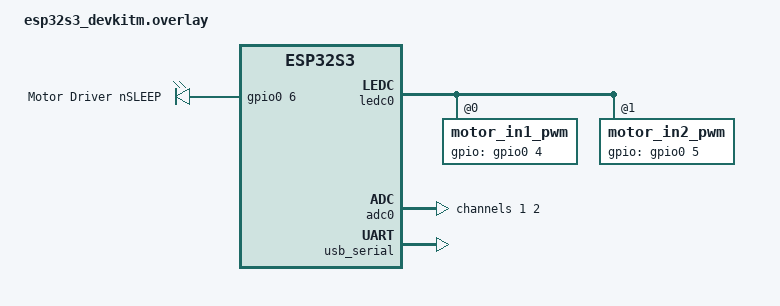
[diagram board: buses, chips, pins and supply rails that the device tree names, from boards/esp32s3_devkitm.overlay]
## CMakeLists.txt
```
# SPDX-License-Identifier: Apache-2.0
# Motor Fader Firmware - Zephyr Project

cmake_minimum_required(VERSION 3.20.0)

# Find Zephyr package
find_package(Zephyr REQUIRED HINTS $ENV{ZEPHYR_BASE})

project(motor_fader_firmware)

# Source files
target_sources(app PRIVATE
    src/main.c
    src/motor_control.c
    src/pid.c
    src/calibration.c
    src/touch_detect.c
)

# Include directories
target_include_directories(app PRIVATE
    src
)
```

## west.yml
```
# West manifest for Motor Fader Firmware
# This tells west where to find Zephyr and any additional modules

manifest:
  version: "1.0"

  remotes:
    - name: zephyrproject-rtos
      url-base: https://github.com/zephyrproject-rtos

  projects:
    - name: zephyr
      remote: zephyrproject-rtos
      revision: v3.6.0
      import:
        name-allowlist:
          - hal_espressif

  self:
    path: motor-fader-firmware
```

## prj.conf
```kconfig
# Motor Fader Firmware - Zephyr Configuration

# General
CONFIG_MAIN_STACK_SIZE=4096
CONFIG_HEAP_MEM_POOL_SIZE=8192
CONFIG_PRINTK=y
CONFIG_LOG=y
CONFIG_LOG_MODE_IMMEDIATE=y

# Console / Shell (optional for debugging)
CONFIG_CONSOLE=y
CONFIG_UART_CONSOLE=y
CONFIG_SHELL=y
CONFIG_SHELL_BACKEND_SERIAL=y

# GPIO
CONFIG_GPIO=y

# PWM for motor control
CONFIG_PWM=y

# ADC for position and current sensing
CONFIG_ADC=y

# Timer for control loop
CONFIG_COUNTER=y

# Non-volatile storage for calibration data
CONFIG_NVS=y
CONFIG_FLASH=y
CONFIG_FLASH_MAP=y
CONFIG_FLASH_PAGE_LAYOUT=y

# Floating point support for PID calculations
CONFIG_FPU=y

# USB CDC for serial output (ESP32-S3 native USB)
CONFIG_USB_DEVICE_STACK=y
CONFIG_USB_CDC_ACM=y
CONFIG_USB_DEVICE_PRODUCT="Motor Fader Controller"
CONFIG_USB_DEVICE_VID=0x303A
CONFIG_USB_DEVICE_PID=0x1001

# ESP32-S3 specific
CONFIG_SOC_ESP32S3_PROCPU=y

# Touch sensor (ESP32-S3 has hardware touch)
# Note: Zephyr touch support varies - may need custom driver
```

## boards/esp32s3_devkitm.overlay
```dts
/*
 * Motor Fader Firmware - Device Tree Overlay for ESP32-S3
 * 
 * Pin Assignments (from usage.ato):
 *   GPIO4  - Motor IN1 (PWM)
 *   GPIO5  - Motor IN2 (PWM)
 *   GPIO6  - Driver nSLEEP (GPIO output)
 *   GPIO2  - Potentiometer sense (ADC)
 *   GPIO3  - Current sense (ADC)
 *   GPIO1  - Touch sense
 */

/ {
    aliases {
        motor-in1 = &motor_in1_pwm;
        motor-in2 = &motor_in2_pwm;
        motor-sleep = &gpio0;
        pot-sense = &adc0;
        current-sense = &adc0;
    };

    chosen {
        zephyr,console = &usb_serial;
        zephyr,shell-uart = &usb_serial;
    };

    /* Motor control GPIOs */
    motor_gpios {
        compatible = "gpio-leds";
        
        motor_sleep: motor_sleep {
            gpios = <&gpio0 6 GPIO_ACTIVE_HIGH>;
            label = "Motor Driver nSLEEP";
        };
    };
};

/* PWM configuration for motor control */
&ledc0 {
    status = "okay";
    #address-cells = <1>;
    #size-cells = <0>;
    
    /* Motor IN1 - PWM Channel 0 on GPIO4 */
    motor_in1_pwm: motor_in1_pwm@0 {
        reg = <0>;
        channel = <0>;
        timer = <0>;
        gpios = <&gpio0 4 GPIO_ACTIVE_HIGH>;
    };
    
    /* Motor IN2 - PWM Channel 1 on GPIO5 */
    motor_in2_pwm: motor_in2_pwm@1 {
        reg = <1>;
        channel = <1>;
        timer = <0>;
        gpios = <&gpio0 5 GPIO_ACTIVE_HIGH>;
    };
};

/* ADC configuration for position and current sensing */
&adc0 {
    status = "okay";
    #address-cells = <1>;
    #size-cells = <0>;
    
    /* Potentiometer sense on GPIO2 (ADC1_CH1) */
    channel@1 {
        reg = <1>;
        zephyr,gain = "ADC_GAIN_1";
        zephyr,reference = "ADC_REF_INTERNAL";
        zephyr,acquisition-time = <ADC_ACQ_TIME_DEFAULT>;
        zephyr,resolution = <12>;
    };
    
    /* Current sense on GPIO3 (ADC1_CH2) */
    channel@2 {
        reg = <2>;
        zephyr,gain = "ADC_GAIN_1";
        zephyr,reference = "ADC_REF_INTERNAL";
        zephyr,acquisition-time = <ADC_ACQ_TIME_DEFAULT>;
        zephyr,resolution = <12>;
    };
};

/* USB CDC for console */
&usb_serial {
    status = "okay";
};
```

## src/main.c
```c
/*
 * Motor Fader Firmware - Main Application
 * 
 * ESP32-S3 + DRV8210P H-bridge + ALPS Motor Fader
 * 
 * Features:
 * - Closed-loop PID position control
 * - Endstop calibration via current sensing
 * - Touch detection and force feedback
 * - Shell commands for testing and tuning
 */

#include <zephyr/kernel.h>
#include <zephyr/device.h>
#include <zephyr/drivers/gpio.h>
#include <zephyr/drivers/adc.h>
#include <zephyr/shell/shell.h>
#include <zephyr/logging/log.h>
#include <zephyr/settings/settings.h>
#include <stdlib.h>
#include <math.h>

#include "motor_control.h"
#include "pid.h"
#include "calibration.h"
#include "touch_detect.h"

LOG_MODULE_REGISTER(main, LOG_LEVEL_INF);

/* ADC configuration */
#define ADC_RESOLUTION      12
#define ADC_MAX_VALUE       ((1 << ADC_RESOLUTION) - 1)  /* 4095 */
#define ADC_REF_MV          3300  /* 3.3V reference */

/* ADC channels */
#define ADC_CHANNEL_POT     1     /* GPIO2 = ADC1_CH1 */
#define ADC_CHANNEL_CURRENT 2     /* GPIO3 = ADC1_CH2 */

/* Control loop timing */
#define CONTROL_LOOP_PERIOD_MS  10    /* 100Hz control loop */
#define ADC_SAMPLE_PERIOD_MS    1     /* 1kHz ADC sampling */

/* Demo mode settings */
#define DEMO_PERIOD_MS          4000  /* Full cycle time for back-and-forth */
#define DEMO_HOLD_TIME_MS       1000  /* Hold at each end */

/* ADC device and channels */
static const struct device *adc_dev;
static struct adc_channel_cfg pot_channel_cfg = {
    .gain = ADC_GAIN_1,
    .reference = ADC_REF_INTERNAL,
    .acquisition_time = ADC_ACQ_TIME_DEFAULT,
    .channel_id = ADC_CHANNEL_POT,
};
static struct adc_channel_cfg current_channel_cfg = {
    .gain = ADC_GAIN_1,
    .reference = ADC_REF_INTERNAL,
    .acquisition_time = ADC_ACQ_TIME_DEFAULT,
    .channel_id = ADC_CHANNEL_CURRENT,
};

/* ADC sequence buffers */
static int16_t pot_sample_buffer;
static int16_t current_sample_buffer;
static struct adc_sequence pot_sequence = {
    .channels = BIT(ADC_CHANNEL_POT),
    .buffer = &pot_sample_buffer,
    .buffer_size = sizeof(pot_sample_buffer),
    .resolution = ADC_RESOLUTION,
};
static struct adc_sequence current_sequence = {
    .channels = BIT(ADC_CHANNEL_CURRENT),
    .buffer = &current_sample_buffer,
    .buffer_size = sizeof(current_sample_buffer),
    .resolution = ADC_RESOLUTION,
};

/* PID controller */
static pid_state_t pid;
static const pid_config_t pid_default_config = {
    .kp = 2.0f,
    .ki = 0.5f,
    .kd = 0.1f,
    .output_min = -100.0f,
    .output_max = 100.0f,
    .deadband = 0.01f,      /* 1% deadband */
    .integral_max = 50.0f,
};

/* Application state */
typedef enum {
    APP_STATE_INIT,
    APP_STATE_DEMO,         /* Motor back-and-forth demo */
    APP_STATE_CALIBRATE,    /* Running calibration */
    APP_STATE_POSITION,     /* Closed-loop position control */
    APP_STATE_MANUAL,       /* Manual control via shell */
    APP_STATE_IDLE
} app_state_t;

static app_state_t app_state = APP_STATE_INIT;
static float target_position = 0.5f;  /* Default to center */
static uint16_t raw_pot_value;
static uint16_t raw_current_value;
static float current_position;

/* Demo state */
static bool demo_direction_forward = true;
static uint32_t demo_last_change;

/* Thread stacks */
K_THREAD_STACK_DEFINE(control_stack, 2048);
static struct k_thread control_thread_data;

/* Synchronization */
K_MUTEX_DEFINE(state_mutex);

/*
 * ADC initialization
 */
static int adc_init(void)
{
    int ret;
    
    adc_dev = DEVICE_DT_GET(DT_NODELABEL(adc0));
    if (!device_is_ready(adc_dev)) {
        LOG_ERR("ADC device not ready");
        return -ENODEV;
    }
    
    /* Configure potentiometer channel */
    ret = adc_channel_setup(adc_dev, &pot_channel_cfg);
    if (ret < 0) {
        LOG_ERR("Failed to setup pot ADC channel: %d", ret);
        return ret;
    }
    
    /* Configure current sense channel */
    ret = adc_channel_setup(adc_dev, &current_channel_cfg);
    if (ret < 0) {
        LOG_ERR("Failed to setup current ADC channel: %d", ret);
        return ret;
    }
    
    LOG_INF("ADC initialized");
    return 0;
}

/*
 * Read ADC values
 */
static int read_adc_values(void)
{
    int ret;
    
    /* Read potentiometer */
    ret = adc_read(adc_dev, &pot_sequence);
    if (ret < 0) {
        LOG_WRN("Pot ADC read failed: %d", ret);
        return ret;
    }
    raw_pot_value = (uint16_t)pot_sample_buffer;
    
    /* Read current sense */
    ret = adc_read(adc_dev, &current_sequence);
    if (ret < 0) {
        LOG_WRN("Current ADC read failed: %d", ret);
        return ret;
    }
    raw_current_value = (uint16_t)current_sample_buffer;
    
    /* Convert to normalized position */
    current_position = calibration_normalize_position(raw_pot_value);
    
    return 0;
}

/*
 * Demo mode - move motor back and forth
 */
static void demo_update(void)
{
    uint32_t now = k_uptime_get_32();
    uint32_t elapsed = now - demo_last_change;
    
    /* Check if it's time to change direction */
    if (elapsed >= (DEMO_PERIOD_MS / 2)) {
        demo_direction_forward = !demo_direction_forward;
        demo_last_change = now;
        
        /* Set new target position */
        target_position = demo_direction_forward ? 0.9f : 0.1f;
        pid_set_setpoint(&pid, target_position);
        
        LOG_INF("Demo: moving to %.1f%%", target_position * 100.0f);
    }
}

/*
 * Control loop thread
 */
static void control_loop_thread(void *p1, void *p2, void *p3)
{
    ARG_UNUSED(p1);
    ARG_UNUSED(p2);
    ARG_UNUSED(p3);
    
    float dt = CONTROL_LOOP_PERIOD_MS / 1000.0f;
    float motor_output;
    
    LOG_INF("Control loop started");
    
    while (1) {
        /* Read sensors */
        if (read_adc_values() < 0) {
            k_msleep(CONTROL_LOOP_PERIOD_MS);
            continue;
        }
        
        /* Process touch detection */
        touch_process(0, raw_current_value, current_position);  /* TODO: actual touch ADC */
        
        k_mutex_lock(&state_mutex, K_FOREVER);
        
        switch (app_state) {
        case APP_STATE_DEMO:
            demo_update();
            /* Fall through to position control */
            __attribute__((fallthrough));
            
        case APP_STATE_POSITION:
            /* Check if user is overriding */
            if (touch_is_touched() && touch_should_yield(raw_current_value)) {
                /* User is pushing - disable motor temporarily */
                motor_stop();
                
                /* In SPRING mode, remember we need to return */
                if (touch_get_ff_mode() == FF_MODE_SPRING) {
                    /* Will spring back when released */
                }
            } else if (touch_get_state() == TOUCH_STATE_RELEASED && 
                       touch_get_ff_mode() == FF_MODE_FOLLOW) {
                /* In follow mode, adopt the new position */
                target_position = current_position;
                pid_set_setpoint(&pid, target_position);
            } else {
                /* Normal PID control */
                motor_output = pid_compute(&pid, current_position, dt);
                motor_set_output((int8_t)motor_output);
            }
            break;
            
        case APP_STATE_CALIBRATE:
            calibration_process(raw_pot_value, raw_current_value);
            if (calibration_get_state() == CAL_STATE_COMPLETE ||
                calibration_get_state() == CAL_STATE_ERROR) {
                /* Calibration finished, return to idle */
                app_state = APP_STATE_IDLE;
            }
            break;
            
        case APP_STATE_MANUAL:
        case APP_STATE_IDLE:
        default:
            /* No automatic control */
            break;
        }
        
        k_mutex_unlock(&state_mutex);
        
        k_msleep(CONTROL_LOOP_PERIOD_MS);
    }
}

/*
 * Shell commands for testing and tuning
 */

/* Start demo mode */
static int cmd_demo(const struct shell *sh, size_t argc, char **argv)
{
    k_mutex_lock(&state_mutex, K_FOREVER);
    
    app_state = APP_STATE_DEMO;
    demo_direction_forward = true;
    demo_last_change = k_uptime_get_32();
    target_position = 0.9f;
    
    motor_enable(true);
    pid_set_enabled(&pid, true);
    pid_set_setpoint(&pid, target_position);
    
    k_mutex_unlock(&state_mutex);
    
    shell_print(sh, "Demo mode started - motor moving back and forth");
    return 0;
}

/* Stop all motor activity */
static int cmd_stop(const struct shell *sh, size_t argc, char **argv)
{
    k_mutex_lock(&state_mutex, K_FOREVER);
    
    app_state = APP_STATE_IDLE;
    motor_stop();
    pid_set_enabled(&pid, false);
    
    k_mutex_unlock(&state_mutex);
    
    shell_print(sh, "Motor stopped");
    return 0;
}

/* Start calibration */
static int cmd_calibrate(const struct shell *sh, size_t argc, char **argv)
{
    k_mutex_lock(&state_mutex, K_FOREVER);
    
    app_state = APP_STATE_CALIBRATE;
    calibration_start();
    
    k_mutex_unlock(&state_mutex);
    
    shell_print(sh, "Calibration started...");
    return 0;
}

/* Set target position */
static int cmd_pos(const struct shell *sh, size_t argc, char **argv)
{
    if (argc < 2) {
        shell_print(sh, "Current position: %.1f%%, Target: %.1f%%",
                    current_position * 100.0f, target_position * 100.0f);
        return 0;
    }
    
    float pos = strtof(argv[1], NULL);
    if (pos < 0.0f || pos > 100.0f) {
        shell_error(sh, "Position must be 0-100");
        return -EINVAL;
    }
    
    k_mutex_lock(&state_mutex, K_FOREVER);
    
    target_position = pos / 100.0f;
    pid_set_setpoint(&pid, target_position);
    
    if (app_state == APP_STATE_IDLE) {
        app_state = APP_STATE_POSITION;
        motor_enable(true);
        pid_set_enabled(&pid, true);
    }
    
    k_mutex_unlock(&state_mutex);
    
    shell_print(sh, "Target position: %.1f%%", pos);
    return 0;
}

/* Set PID gains */
static int cmd_pid(const struct shell *sh, size_t argc, char **argv)
{
    if (argc < 4) {
        shell_print(sh, "Usage: pid <Kp> <Ki> <Kd>");
        shell_print(sh, "Current: Kp=%.2f Ki=%.2f Kd=%.2f",
                    pid.config.kp, pid.config.ki, pid.config.kd);
        return 0;
    }
    
    float kp = strtof(argv[1], NULL);
    float ki = strtof(argv[2], NULL);
    float kd = strtof(argv[3], NULL);
    
    pid_set_gains(&pid, kp, ki, kd);
    pid_reset(&pid);  /* Reset integral when gains change */
    
    shell_print(sh, "PID gains set: Kp=%.2f Ki=%.2f Kd=%.2f", kp, ki, kd);
    return 0;
}

/* Manual motor control */
static int cmd_motor(const struct shell *sh, size_t argc, char **argv)
{
    if (argc < 2) {
        const motor_state_t *state = motor_get_state();
        shell_print(sh, "Motor: enabled=%d dir=%d speed=%d",
                    state->enabled, state->direction, state->speed);
        return 0;
    }
    
    int value = strtol(argv[1], NULL, 10);
    
    k_mutex_lock(&state_mutex, K_FOREVER);
    
    app_state = APP_STATE_MANUAL;
    pid_set_enabled(&pid, false);
    motor_enable(true);
    motor_set_output((int8_t)value);
    
    k_mutex_unlock(&state_mutex);
    
    shell_print(sh, "Motor output: %d", value);
    return 0;
}

/* Show status */
static int cmd_status(const struct shell *sh, size_t argc, char **argv)
{
    const motor_state_t *motor = motor_get_state();
    const calibration_data_t *cal = calibration_get_data();
    
    shell_print(sh, "=== Motor Fader Status ===");
    shell_print(sh, "App state: %d", app_state);
    shell_print(sh, "Motor: enabled=%d dir=%d speed=%d",
                motor->enabled, motor->direction, motor->speed);
    shell_print(sh, "Position: raw=%d normalized=%.1f%% target=%.1f%%",
                raw_pot_value, current_position * 100.0f, target_position * 100.0f);
    shell_print(sh, "Current: raw=%d", raw_current_value);
    shell_print(sh, "Touch: state=%d", touch_get_state());
    
    if (cal) {
        shell_print(sh, "Calibration: min=%d max=%d", cal->pos_min, cal->pos_max);
    } else {
        shell_print(sh, "Calibration: not calibrated");
    }
    
    shell_print(sh, "PID: Kp=%.2f Ki=%.2f Kd=%.2f error=%.3f",
                pid.config.kp, pid.config.ki, pid.config.kd,
                pid_get_error(&pid));
    
    return 0;
}

/* Force feedback mode */
static int cmd_ff(const struct shell *sh, size_t argc, char **argv)
{
    if (argc < 2) {
        shell_print(sh, "Force feedback mode: %d", touch_get_ff_mode());
        shell_print(sh, "Modes: 0=disabled, 1=hold, 2=spring, 3=follow");
        return 0;
    }
    
    int mode = strtol(argv[1], NULL, 10);
    if (mode < 0 || mode > 3) {
        shell_error(sh, "Invalid mode");
        return -EINVAL;
    }
    
    touch_set_ff_mode((force_feedback_mode_t)mode);
    shell_print(sh, "Force feedback mode set to %d", mode);
    return 0;
}

/* Register shell commands */
SHELL_STATIC_SUBCMD_SET_CREATE(fader_cmds,
    SHELL_CMD(demo, NULL, "Start demo mode (back and forth)", cmd_demo),
    SHELL_CMD(stop, NULL, "Stop motor", cmd_stop),
    SHELL_CMD(cal, NULL, "Start calibration", cmd_calibrate),
    SHELL_CMD(pos, NULL, "Set/get position (0-100)", cmd_pos),
    SHELL_CMD(pid, NULL, "Set PID gains <Kp> <Ki> <Kd>", cmd_pid),
    SHELL_CMD(motor, NULL, "Manual motor control (-100 to 100)", cmd_motor),
    SHELL_CMD(status, NULL, "Show system status", cmd_status),
    SHELL_CMD(ff, NULL, "Set force feedback mode", cmd_ff),
    SHELL_SUBCMD_SET_END
);
SHELL_CMD_REGISTER(fader, &fader_cmds, "Motor fader commands", NULL);

/*
 * Main entry point
 */
int main(void)
{
    int ret;
    
    LOG_INF("Motor Fader Firmware Starting...");
    LOG_INF("Pin config: IN1=GPIO4, IN2=GPIO5, nSLEEP=GPIO6");
    LOG_INF("           POT=GPIO2, CURRENT=GPIO3, TOUCH=GPIO1");
    
    /* Initialize settings subsystem */
    ret = settings_subsys_init();
    if (ret) {
        LOG_WRN("Settings init failed: %d", ret);
    }
    
    /* Initialize subsystems */
    ret = motor_init();
    if (ret) {
        LOG_ERR("Motor init failed: %d", ret);
        return ret;
    }
    
    ret = adc_init();
    if (ret) {
        LOG_ERR("ADC init failed: %d", ret);
        return ret;
    }
    
    ret = calibration_init();
    if (ret) {
        LOG_WRN("Calibration init failed: %d", ret);
    }
    
    ret = touch_init();
    if (ret) {
        LOG_WRN("Touch init failed: %d", ret);
    }
    
    /* Initialize PID controller */
    pid_init(&pid, &pid_default_config);
    
    /* Start control loop thread */
    k_thread_create(&control_thread_data, control_stack,
                    K_THREAD_STACK_SIZEOF(control_stack),
                    control_loop_thread, NULL, NULL, NULL,
                    5, 0, K_NO_WAIT);
    k_thread_name_set(&control_thread_data, "control_loop");
    
    LOG_INF("Initialization complete!");
    LOG_INF("Commands available via shell:");
    LOG_INF("  fader demo    - Start back-and-forth demo");
    LOG_INF("  fader stop    - Stop motor");
    LOG_INF("  fader cal     - Run calibration");
    LOG_INF("  fader pos <%%> - Set target position");
    LOG_INF("  fader status  - Show current status");
    
    app_state = APP_STATE_IDLE;
    
    /* Main loop - just log status periodically for debugging */
    while (1) {
        k_msleep(5000);
        
        if (app_state != APP_STATE_IDLE) {
            LOG_INF("pos=%.1f%% target=%.1f%% current=%d",
                    current_position * 100.0f,
                    target_position * 100.0f,
                    raw_current_value);
        }
    }
    
    return 0;
}
```

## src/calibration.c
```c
/*
 * Calibration Module Implementation
 * 
 * Endstop calibration procedure:
 * 1. Drive motor slowly toward minimum position
 * 2. Detect stall via current spike
 * 3. Record minimum position ADC value
 * 4. Drive motor toward maximum position
 * 5. Detect stall, record maximum position
 * 6. Store calibration in NVS
 */

#include "calibration.h"
#include "motor_control.h"
#include <zephyr/kernel.h>
#include <zephyr/settings/settings.h>
#include <zephyr/logging/log.h>
#include <string.h>

LOG_MODULE_REGISTER(calibration, LOG_LEVEL_INF);

/* Calibration parameters */
#define CAL_MOTOR_SPEED       30      /* Slow speed during calibration (%) */
#define CAL_STALL_THRESHOLD   500     /* ADC value indicating stall (~150mA @ 1ohm, 3.3V ref) */
#define CAL_STALL_SAMPLES     5       /* Consecutive samples above threshold to confirm stall */
#define CAL_SETTLE_TIME_MS    100     /* Time to wait after stopping */
#define CAL_TIMEOUT_MS        5000    /* Max time for each direction */

/* NVS settings key */
#define CAL_SETTINGS_KEY      "motor_fader/cal"

/* Module state */
static calibration_data_t cal_data = {
    .pos_min = 0,
    .pos_max = 4095,
    .current_stall = CAL_STALL_THRESHOLD,
    .valid = false
};

static calibration_state_t cal_state = CAL_STATE_IDLE;
static uint32_t cal_start_time;
static uint8_t stall_count;
static uint16_t last_position;

/* Settings handler for NVS */
static int cal_settings_set(const char *name, size_t len,
                            settings_read_cb read_cb, void *cb_arg)
{
    const char *next;
    
    if (settings_name_steq(name, "data", &next) && !next) {
        if (len != sizeof(calibration_data_t)) {
            return -EINVAL;
        }
        
        int rc = read_cb(cb_arg, &cal_data, sizeof(cal_data));
        if (rc >= 0) {
            LOG_INF("Loaded calibration: min=%d, max=%d", 
                    cal_data.pos_min, cal_data.pos_max);
            return 0;
        }
        return rc;
    }
    
    return -ENOENT;
}

static int cal_settings_export(int (*cb)(const char *name, const void *value,
                                         size_t val_len))
{
    if (cal_data.valid) {
        return cb(CAL_SETTINGS_KEY "/data", &cal_data, sizeof(cal_data));
    }
    return 0;
}

SETTINGS_STATIC_HANDLER_DEFINE(motor_fader_cal, CAL_SETTINGS_KEY,
                               NULL, cal_settings_set, NULL, 
                               cal_settings_export);

int calibration_init(void)
{
    LOG_INF("Initializing calibration module...");
    
    /* Try to load existing calibration */
    if (calibration_load() == 0) {
        LOG_INF("Loaded existing calibration data");
    } else {
        LOG_INF("No valid calibration data, using defaults");
    }
    
    return 0;
}

int calibration_start(void)
{
    if (cal_state != CAL_STATE_IDLE && cal_state != CAL_STATE_COMPLETE &&
        cal_state != CAL_STATE_ERROR) {
        LOG_WRN("Calibration already in progress");
        return -EBUSY;
    }
    
    LOG_INF("Starting calibration...");
    
    /* Reset state */
    cal_state = CAL_STATE_FINDING_MIN;
    cal_start_time = k_uptime_get_32();
    stall_count = 0;
    
    /* Make sure motor is enabled */
    motor_enable(true);
    
    /* Start moving toward minimum */
    motor_set(MOTOR_DIR_REVERSE, CAL_MOTOR_SPEED);
    
    return 0;
}

calibration_state_t calibration_get_state(void)
{
    return cal_state;
}

void calibration_process(uint16_t position, uint16_t current)
{
    uint32_t elapsed;
    
    switch (cal_state) {
    case CAL_STATE_IDLE:
    case CAL_STATE_COMPLETE:
    case CAL_STATE_ERROR:
        /* Nothing to do */
        return;
        
    case CAL_STATE_FINDING_MIN:
        elapsed = k_uptime_get_32() - cal_start_time;
        
        /* Check for timeout */
        if (elapsed > CAL_TIMEOUT_MS) {
            LOG_ERR("Calibration timeout finding minimum");
            motor_stop();
            cal_state = CAL_STATE_ERROR;
            return;
        }
        
        /* Check for stall */
        if (current > cal_data.current_stall) {
            stall_count++;
            if (stall_count >= CAL_STALL_SAMPLES) {
                /* Stall detected - found minimum */
                motor_stop();
                k_msleep(CAL_SETTLE_TIME_MS);
                
                cal_data.pos_min = position;
                LOG_INF("Found minimum position: %d", cal_data.pos_min);
                
                /* Start finding maximum */
                stall_count = 0;
                cal_start_time = k_uptime_get_32();
                cal_state = CAL_STATE_FINDING_MAX;
                
                motor_set(MOTOR_DIR_FORWARD, CAL_MOTOR_SPEED);
            }
        } else {
            stall_count = 0;
        }
        break;
        
    case CAL_STATE_FINDING_MAX:
        elapsed = k_uptime_get_32() - cal_start_time;
        
        /* Check for timeout */
        if (elapsed > CAL_TIMEOUT_MS) {
            LOG_ERR("Calibration timeout finding maximum");
            motor_stop();
            cal_state = CAL_STATE_ERROR;
            return;
        }
        
        /* Check for stall */
        if (current > cal_data.current_stall) {
            stall_count++;
            if (stall_count >= CAL_STALL_SAMPLES) {
                /* Stall detected - found maximum */
                motor_stop();
                k_msleep(CAL_SETTLE_TIME_MS);
                
                cal_data.pos_max = position;
                cal_data.valid = true;
                cal_state = CAL_STATE_COMPLETE;
                
                LOG_INF("Found maximum position: %d", cal_data.pos_max);
                LOG_INF("Calibration complete: range = %d to %d",
                        cal_data.pos_min, cal_data.pos_max);
                
                /* Auto-save */
                calibration_save();
            }
        } else {
            stall_count = 0;
        }
        break;
    }
    
    last_position = position;
}

void calibration_abort(void)
{
    if (cal_state == CAL_STATE_FINDING_MIN || 
        cal_state == CAL_STATE_FINDING_MAX) {
        LOG_WRN("Aborting calibration");
        motor_stop();
        cal_state = CAL_STATE_IDLE;
    }
}

const calibration_data_t* calibration_get_data(void)
{
    if (cal_data.valid) {
        return &cal_data;
    }
    return NULL;
}

int calibration_set_data(const calibration_data_t *data)
{
    if (!data) {
        return -EINVAL;
    }
    
    memcpy(&cal_data, data, sizeof(cal_data));
    return 0;
}

int calibration_save(void)
{
    if (!cal_data.valid) {
        LOG_WRN("Cannot save invalid calibration data");
        return -EINVAL;
    }
    
    int ret = settings_save_one(CAL_SETTINGS_KEY "/data", 
                                &cal_data, sizeof(cal_data));
    if (ret) {
        LOG_ERR("Failed to save calibration: %d", ret);
    } else {
        LOG_INF("Calibration saved");
    }
    
    return ret;
}

int calibration_load(void)
{
    int ret = settings_load_subtree(CAL_SETTINGS_KEY);
    if (ret) {
        LOG_WRN("Failed to load calibration settings: %d", ret);
        return ret;
    }
    
    if (!cal_data.valid) {
        return -ENOENT;
    }
    
    return 0;
}

float calibration_normalize_position(uint16_t raw_position)
{
    if (!cal_data.valid) {
        /* Default: assume 12-bit ADC, 0-4095 */
        return (float)raw_position / 4095.0f;
    }
    
    /* Normalize to 0.0 - 1.0 based on calibration */
    int32_t range = (int32_t)cal_data.pos_max - (int32_t)cal_data.pos_min;
    if (range <= 0) {
        return 0.5f;  /* Invalid range */
    }
    
    int32_t offset = (int32_t)raw_position - (int32_t)cal_data.pos_min;
    float normalized = (float)offset / (float)range;
    
    /* Clamp to 0.0 - 1.0 */
    if (normalized < 0.0f) normalized = 0.0f;
    if (normalized > 1.0f) normalized = 1.0f;
    
    return normalized;
}

uint16_t calibration_denormalize_position(float normalized)
{
    /* Clamp input */
    if (normalized < 0.0f) normalized = 0.0f;
    if (normalized > 1.0f) normalized = 1.0f;
    
    if (!cal_data.valid) {
        /* Default: assume 12-bit ADC */
        return (uint16_t)(normalized * 4095.0f);
    }
    
    int32_t range = (int32_t)cal_data.pos_max - (int32_t)cal_data.pos_min;
    int32_t raw = (int32_t)cal_data.pos_min + (int32_t)(normalized * (float)range);
    
    return (uint16_t)raw;
}
```

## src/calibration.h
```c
/*
 * Calibration Module
 * 
 * Handles endstop calibration for the motor fader using
 * current sensing and position feedback.
 */

#ifndef CALIBRATION_H
#define CALIBRATION_H

#include <stdint.h>
#include <stdbool.h>

/* Calibration data structure */
typedef struct {
    uint16_t pos_min;       /* ADC value at minimum position */
    uint16_t pos_max;       /* ADC value at maximum position */
    uint16_t current_stall; /* ADC value indicating stall current */
    bool valid;             /* Calibration data is valid */
} calibration_data_t;

/* Calibration state */
typedef enum {
    CAL_STATE_IDLE,
    CAL_STATE_FINDING_MIN,
    CAL_STATE_FINDING_MAX,
    CAL_STATE_COMPLETE,
    CAL_STATE_ERROR
} calibration_state_t;

/**
 * Initialize calibration module
 * @return 0 on success, negative error code on failure
 */
int calibration_init(void);

/**
 * Start automatic calibration procedure
 * This runs asynchronously - use calibration_get_state() to check progress
 * @return 0 on success, negative error code if already running
 */
int calibration_start(void);

/**
 * Get current calibration state
 * @return Current state
 */
calibration_state_t calibration_get_state(void);

/**
 * Process calibration step (call from main loop)
 * @param position Current position ADC value
 * @param current Current sense ADC value
 */
void calibration_process(uint16_t position, uint16_t current);

/**
 * Abort ongoing calibration
 */
void calibration_abort(void);

/**
 * Get calibration data
 * @return Pointer to calibration data (NULL if not valid)
 */
const calibration_data_t* calibration_get_data(void);

/**
 * Set calibration data manually
 * @param data Pointer to calibration data
 * @return 0 on success
 */
int calibration_set_data(const calibration_data_t *data);

/**
 * Save calibration data to NVS
 * @return 0 on success
 */
int calibration_save(void);

/**
 * Load calibration data from NVS
 * @return 0 on success, negative if no data or invalid
 */
int calibration_load(void);

/**
 * Convert raw ADC position to normalized 0.0-1.0 range
 * @param raw_position Raw ADC value
 * @return Normalized position (0.0 to 1.0)
 */
float calibration_normalize_position(uint16_t raw_position);

/**
 * Convert normalized position to raw ADC value
 * @param normalized Normalized position (0.0 to 1.0)
 * @return Raw ADC value
 */
uint16_t calibration_denormalize_position(float normalized);

#endif /* CALIBRATION_H */
```

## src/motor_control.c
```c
/*
 * Motor Control Module Implementation
 * 
 * DRV8210P H-bridge control using ESP32-S3 LEDC PWM
 * 
 * Pin Assignments:
 *   GPIO4 - IN1 (PWM)
 *   GPIO5 - IN2 (PWM)
 *   GPIO6 - nSLEEP (active high to enable)
 * 
 * Control Logic:
 *   IN1=H, IN2=L -> Forward
 *   IN1=L, IN2=H -> Reverse
 *   IN1=L, IN2=L -> Coast (stop)
 *   IN1=H, IN2=H -> Brake
 */

#include "motor_control.h"
#include <zephyr/device.h>
#include <zephyr/drivers/gpio.h>
#include <zephyr/drivers/pwm.h>
#include <zephyr/logging/log.h>

LOG_MODULE_REGISTER(motor_control, LOG_LEVEL_INF);

/* GPIO pin definitions */
#define MOTOR_IN1_PIN   4
#define MOTOR_IN2_PIN   5
#define MOTOR_SLEEP_PIN 6

/* PWM parameters */
#define PWM_PERIOD_NS   50000  /* 20kHz = 50us period */
#define PWM_MAX_DUTY    PWM_PERIOD_NS

/* Device handles */
static const struct device *gpio_dev;
static const struct device *pwm_dev;

/* Current motor state */
static motor_state_t motor_state = {
    .enabled = false,
    .direction = MOTOR_DIR_STOP,
    .speed = 0,
    .pwm_value = 0
};

int motor_init(void)
{
    int ret;

    LOG_INF("Initializing motor control...");

    /* Get GPIO device */
    gpio_dev = DEVICE_DT_GET(DT_NODELABEL(gpio0));
    if (!device_is_ready(gpio_dev)) {
        LOG_ERR("GPIO device not ready");
        return -ENODEV;
    }

    /* Configure nSLEEP pin as output, initially low (sleep mode) */
    ret = gpio_pin_configure(gpio_dev, MOTOR_SLEEP_PIN, GPIO_OUTPUT_LOW);
    if (ret < 0) {
        LOG_ERR("Failed to configure nSLEEP pin: %d", ret);
        return ret;
    }

    /* Get PWM device - using LEDC */
    pwm_dev = DEVICE_DT_GET(DT_NODELABEL(ledc0));
    if (!device_is_ready(pwm_dev)) {
        LOG_WRN("PWM device not ready, falling back to GPIO mode");
        
        /* Configure IN1 and IN2 as GPIO outputs for basic control */
        ret = gpio_pin_configure(gpio_dev, MOTOR_IN1_PIN, GPIO_OUTPUT_LOW);
        if (ret < 0) {
            LOG_ERR("Failed to configure IN1 pin: %d", ret);
            return ret;
        }
        
        ret = gpio_pin_configure(gpio_dev, MOTOR_IN2_PIN, GPIO_OUTPUT_LOW);
        if (ret < 0) {
            LOG_ERR("Failed to configure IN2 pin: %d", ret);
            return ret;
        }
        
        pwm_dev = NULL;
    }

    LOG_INF("Motor control initialized");
    return 0;
}

void motor_enable(bool enable)
{
    if (gpio_dev) {
        gpio_pin_set(gpio_dev, MOTOR_SLEEP_PIN, enable ? 1 : 0);
        motor_state.enabled = enable;
        
        if (!enable) {
            motor_state.direction = MOTOR_DIR_STOP;
            motor_state.speed = 0;
        }
        
        LOG_INF("Motor driver %s", enable ? "enabled" : "disabled");
    }
}

bool motor_is_enabled(void)
{
    return motor_state.enabled;
}

static void set_pwm_outputs(uint32_t in1_duty, uint32_t in2_duty)
{
    if (pwm_dev) {
        /* Use PWM for smooth control */
        pwm_set(pwm_dev, 0, PWM_PERIOD_NS, in1_duty, 0);
        pwm_set(pwm_dev, 1, PWM_PERIOD_NS, in2_duty, 0);
    } else if (gpio_dev) {
        /* Fallback to GPIO - no speed control, just on/off */
        gpio_pin_set(gpio_dev, MOTOR_IN1_PIN, in1_duty > 0 ? 1 : 0);
        gpio_pin_set(gpio_dev, MOTOR_IN2_PIN, in2_duty > 0 ? 1 : 0);
    }
}

void motor_set(motor_direction_t direction, uint8_t speed)
{
    if (!motor_state.enabled) {
        LOG_WRN("Motor driver not enabled");
        return;
    }

    /* Clamp speed to 0-100 */
    if (speed > 100) {
        speed = 100;
    }

    uint32_t duty = (uint32_t)speed * PWM_MAX_DUTY / 100;

    motor_state.direction = direction;
    motor_state.speed = speed;

    switch (direction) {
    case MOTOR_DIR_FORWARD:
        set_pwm_outputs(duty, 0);
        motor_state.pwm_value = (int16_t)speed;
        LOG_DBG("Motor forward, speed=%d%%", speed);
        break;

    case MOTOR_DIR_REVERSE:
        set_pwm_outputs(0, duty);
        motor_state.pwm_value = -(int16_t)speed;
        LOG_DBG("Motor reverse, speed=%d%%", speed);
        break;

    case MOTOR_DIR_BRAKE:
        set_pwm_outputs(PWM_MAX_DUTY, PWM_MAX_DUTY);
        motor_state.pwm_value = 0;
        LOG_DBG("Motor brake");
        break;

    case MOTOR_DIR_STOP:
    default:
        set_pwm_outputs(0, 0);
        motor_state.pwm_value = 0;
        LOG_DBG("Motor stop");
        break;
    }
}

void motor_set_output(int8_t value)
{
    if (value > 0) {
        motor_set(MOTOR_DIR_FORWARD, (uint8_t)value);
    } else if (value < 0) {
        motor_set(MOTOR_DIR_REVERSE, (uint8_t)(-value));
    } else {
        motor_set(MOTOR_DIR_STOP, 0);
    }
}

void motor_stop(void)
{
    motor_set(MOTOR_DIR_STOP, 0);
}

void motor_brake(void)
{
    motor_set(MOTOR_DIR_BRAKE, 0);
}

const motor_state_t* motor_get_state(void)
{
    return &motor_state;
}
```

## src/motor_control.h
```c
/*
 * Motor Control Module
 * 
 * Controls the DRV8210P H-bridge driver for bidirectional motor control.
 * Uses PWM on IN1/IN2 for speed control and direction.
 */

#ifndef MOTOR_CONTROL_H
#define MOTOR_CONTROL_H

#include <zephyr/kernel.h>
#include <stdint.h>
#include <stdbool.h>

/* Motor direction */
typedef enum {
    MOTOR_DIR_STOP = 0,
    MOTOR_DIR_FORWARD,
    MOTOR_DIR_REVERSE,
    MOTOR_DIR_BRAKE
} motor_direction_t;

/* Motor state */
typedef struct {
    bool enabled;
    motor_direction_t direction;
    uint8_t speed;  /* 0-100% */
    int16_t pwm_value;  /* Internal PWM value */
} motor_state_t;

/**
 * Initialize the motor control subsystem
 * @return 0 on success, negative error code on failure
 */
int motor_init(void);

/**
 * Enable or disable the motor driver (nSLEEP pin)
 * @param enable true to enable, false to put driver to sleep
 */
void motor_enable(bool enable);

/**
 * Check if motor driver is enabled
 * @return true if enabled
 */
bool motor_is_enabled(void);

/**
 * Set motor direction and speed
 * @param direction Motor direction (STOP, FORWARD, REVERSE, BRAKE)
 * @param speed Speed percentage (0-100)
 */
void motor_set(motor_direction_t direction, uint8_t speed);

/**
 * Set motor output directly with signed value
 * @param value Motor output (-100 to +100, negative = reverse)
 */
void motor_set_output(int8_t value);

/**
 * Stop the motor (coast)
 */
void motor_stop(void);

/**
 * Brake the motor (both outputs high)
 */
void motor_brake(void);

/**
 * Get current motor state
 * @return Pointer to motor state structure
 */
const motor_state_t* motor_get_state(void);

#endif /* MOTOR_CONTROL_H */
```

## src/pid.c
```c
/*
 * PID Controller Implementation
 * 
 * Features:
 * - Anti-windup with integral clamping
 * - Derivative-on-measurement to avoid derivative kick
 * - Configurable deadband
 * - Output clamping
 */

#include "pid.h"
#include <math.h>

/* Helper to clamp value between min and max */
static inline float clamp(float value, float min, float max)
{
    if (value < min) return min;
    if (value > max) return max;
    return value;
}

void pid_init(pid_state_t *pid, const pid_config_t *config)
{
    if (!pid || !config) {
        return;
    }

    pid->config = *config;
    pid->setpoint = 0.0f;
    pid->integral = 0.0f;
    pid->prev_error = 0.0f;
    pid->prev_input = 0.0f;
    pid->output = 0.0f;
    pid->enabled = false;
}

void pid_reset(pid_state_t *pid)
{
    if (!pid) {
        return;
    }

    pid->integral = 0.0f;
    pid->prev_error = 0.0f;
    pid->prev_input = 0.0f;
    pid->output = 0.0f;
}

void pid_set_gains(pid_state_t *pid, float kp, float ki, float kd)
{
    if (!pid) {
        return;
    }

    pid->config.kp = kp;
    pid->config.ki = ki;
    pid->config.kd = kd;
}

void pid_set_setpoint(pid_state_t *pid, float setpoint)
{
    if (!pid) {
        return;
    }

    pid->setpoint = setpoint;
}

void pid_set_enabled(pid_state_t *pid, bool enabled)
{
    if (!pid) {
        return;
    }

    if (enabled && !pid->enabled) {
        /* Reset state when enabling */
        pid_reset(pid);
    }

    pid->enabled = enabled;
}

float pid_compute(pid_state_t *pid, float input, float dt)
{
    if (!pid || !pid->enabled || dt <= 0.0f) {
        return 0.0f;
    }

    /* Calculate error */
    float error = pid->setpoint - input;

    /* Check deadband */
    if (fabsf(error) < pid->config.deadband) {
        pid->output = 0.0f;
        pid->prev_error = error;
        pid->prev_input = input;
        return 0.0f;
    }

    /* Proportional term */
    float p_term = pid->config.kp * error;

    /* Integral term with anti-windup */
    pid->integral += error * dt;
    pid->integral = clamp(pid->integral, 
                          -pid->config.integral_max, 
                          pid->config.integral_max);
    float i_term = pid->config.ki * pid->integral;

    /* Derivative term (on measurement to avoid derivative kick) */
    float d_input = (input - pid->prev_input) / dt;
    float d_term = -pid->config.kd * d_input;  /* Negative because we use input derivative */

    /* Compute total output */
    float output = p_term + i_term + d_term;

    /* Clamp output */
    output = clamp(output, pid->config.output_min, pid->config.output_max);

    /* Back-calculation anti-windup: if output is saturated, reduce integral */
    if ((output >= pid->config.output_max && error > 0) ||
        (output <= pid->config.output_min && error < 0)) {
        /* Don't accumulate integral when saturated in the wrong direction */
        pid->integral -= error * dt;
    }

    /* Store state for next iteration */
    pid->prev_error = error;
    pid->prev_input = input;
    pid->output = output;

    return output;
}

float pid_get_error(const pid_state_t *pid)
{
    if (!pid) {
        return 0.0f;
    }
    return pid->prev_error;
}

bool pid_at_setpoint(const pid_state_t *pid, float input)
{
    if (!pid) {
        return false;
    }
    
    float error = pid->setpoint - input;
    return fabsf(error) < pid->config.deadband;
}
```

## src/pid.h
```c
/*
 * PID Controller Module
 * 
 * Implements a discrete PID controller with anti-windup
 * for motor fader position control.
 */

#ifndef PID_H
#define PID_H

#include <stdint.h>
#include <stdbool.h>

/* PID configuration structure */
typedef struct {
    float kp;           /* Proportional gain */
    float ki;           /* Integral gain */
    float kd;           /* Derivative gain */
    float output_min;   /* Minimum output value */
    float output_max;   /* Maximum output value */
    float deadband;     /* Error deadband (no output if |error| < deadband) */
    float integral_max; /* Anti-windup: max integral term */
} pid_config_t;

/* PID state structure */
typedef struct {
    pid_config_t config;
    float setpoint;      /* Target value */
    float integral;      /* Accumulated integral term */
    float prev_error;    /* Previous error for derivative */
    float prev_input;    /* Previous input for derivative-on-measurement */
    float output;        /* Last computed output */
    bool enabled;        /* Controller enabled flag */
} pid_state_t;

/**
 * Initialize PID controller with configuration
 * @param pid Pointer to PID state
 * @param config Pointer to configuration (copied)
 */
void pid_init(pid_state_t *pid, const pid_config_t *config);

/**
 * Reset PID controller state (clear integral, etc.)
 * @param pid Pointer to PID state
 */
void pid_reset(pid_state_t *pid);

/**
 * Set PID gains
 * @param pid Pointer to PID state
 * @param kp Proportional gain
 * @param ki Integral gain
 * @param kd Derivative gain
 */
void pid_set_gains(pid_state_t *pid, float kp, float ki, float kd);

/**
 * Set PID setpoint (target)
 * @param pid Pointer to PID state
 * @param setpoint Target value
 */
void pid_set_setpoint(pid_state_t *pid, float setpoint);

/**
 * Enable or disable the PID controller
 * @param pid Pointer to PID state
 * @param enabled true to enable, false to disable
 */
void pid_set_enabled(pid_state_t *pid, bool enabled);

/**
 * Compute PID output
 * @param pid Pointer to PID state
 * @param input Current measured value
 * @param dt Time delta in seconds
 * @return Control output (clamped to output_min/max)
 */
float pid_compute(pid_state_t *pid, float input, float dt);

/**
 * Get current error (setpoint - input)
 * @param pid Pointer to PID state
 * @return Current error value
 */
float pid_get_error(const pid_state_t *pid);

/**
 * Check if controller is at setpoint (within deadband)
 * @param pid Pointer to PID state
 * @param input Current input value
 * @return true if |error| < deadband
 */
bool pid_at_setpoint(const pid_state_t *pid, float input);

#endif /* PID_H */
```

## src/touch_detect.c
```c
/*
 * Touch Detection and Force Feedback Implementation
 * 
 * Detection methods:
 * 1. Capacitive touch sensing on GPIO1 (TOUCH1)
 * 2. Current-based force detection (backup/supplement)
 * 
 * Force feedback behavior:
 * - When user touches fader, reduce motor torque
 * - If user applies force (detected via current), yield
 * - Option to spring back to target or adopt new position
 */

#include "touch_detect.h"
#include "calibration.h"
#include <zephyr/kernel.h>
#include <zephyr/logging/log.h>
#include <math.h>

LOG_MODULE_REGISTER(touch_detect, LOG_LEVEL_INF);

/* Touch detection parameters */
#define TOUCH_THRESHOLD_DEFAULT     1000    /* ADC threshold for capacitive touch */
#define TOUCH_DEBOUNCE_MS           20      /* Debounce time */
#define TOUCH_MOVE_THRESHOLD        0.02f   /* Position change to consider "moving" */

/* Force detection parameters */
#define CURRENT_THRESHOLD_DEFAULT   300     /* ADC value ~100mA with 1ohm sense */
#define CURRENT_SAMPLES             3       /* Samples above threshold for detection */

/* Module state */
static touch_state_t touch_state = TOUCH_STATE_IDLE;
static force_feedback_mode_t ff_mode = FF_MODE_HOLD;
static touch_callback_t touch_callback = NULL;

static uint16_t touch_threshold = TOUCH_THRESHOLD_DEFAULT;
static uint16_t current_threshold = CURRENT_THRESHOLD_DEFAULT;

static uint32_t touch_start_time;
static uint32_t release_start_time;
static float touch_start_position;
static float last_position;
static uint8_t current_high_count;

/* Internal helpers */
static void set_state(touch_state_t new_state)
{
    if (touch_state != new_state) {
        LOG_DBG("Touch state: %d -> %d", touch_state, new_state);
        touch_state = new_state;
        
        if (touch_callback) {
            touch_callback(new_state);
        }
    }
}

int touch_init(void)
{
    LOG_INF("Initializing touch detection...");
    
    touch_state = TOUCH_STATE_IDLE;
    ff_mode = FF_MODE_HOLD;
    touch_start_position = 0.0f;
    last_position = 0.0f;
    current_high_count = 0;
    
    /* 
     * Note: ESP32-S3 has hardware touch sensing but Zephyr support
     * may be limited. Using ADC fallback for now.
     * For production, consider implementing direct register access
     * to the touch controller or using ESP-IDF touch driver.
     */
    
    LOG_INF("Touch detection initialized");
    return 0;
}

void touch_process(uint16_t touch_adc, uint16_t current_adc, float position)
{
    bool touch_detected = (touch_adc > touch_threshold);
    bool current_high = (current_adc > current_threshold);
    float position_delta = fabsf(position - last_position);
    
    /* Track consecutive high current samples */
    if (current_high) {
        if (current_high_count < 255) {
            current_high_count++;
        }
    } else {
        current_high_count = 0;
    }
    
    switch (touch_state) {
    case TOUCH_STATE_IDLE:
        if (touch_detected) {
            touch_start_time = k_uptime_get_32();
            touch_start_position = position;
            set_state(TOUCH_STATE_TOUCHED);
            LOG_INF("Touch detected at position %.2f", position);
        }
        break;
        
    case TOUCH_STATE_TOUCHED:
        if (!touch_detected) {
            /* Debounce release */
            release_start_time = k_uptime_get_32();
            set_state(TOUCH_STATE_RELEASED);
        } else if (position_delta > TOUCH_MOVE_THRESHOLD) {
            /* User is moving the fader */
            set_state(TOUCH_STATE_MOVING);
            LOG_INF("User moving fader");
        }
        break;
        
    case TOUCH_STATE_MOVING:
        if (!touch_detected) {
            release_start_time = k_uptime_get_32();
            set_state(TOUCH_STATE_RELEASED);
            LOG_INF("Touch released at position %.2f", position);
        }
        /* Stay in moving state while touched, regardless of movement */
        break;
        
    case TOUCH_STATE_RELEASED:
        if (touch_detected) {
            /* Touch returned before debounce complete */
            set_state(TOUCH_STATE_TOUCHED);
        } else if (k_uptime_get_32() - release_start_time > TOUCH_DEBOUNCE_MS) {
            /* Debounce complete, fully released */
            set_state(TOUCH_STATE_IDLE);
        }
        break;
    }
    
    last_position = position;
}

touch_state_t touch_get_state(void)
{
    return touch_state;
}

bool touch_is_touched(void)
{
    return (touch_state == TOUCH_STATE_TOUCHED || 
            touch_state == TOUCH_STATE_MOVING);
}

bool touch_is_moving(void)
{
    return (touch_state == TOUCH_STATE_MOVING);
}

void touch_set_threshold(uint16_t threshold)
{
    touch_threshold = threshold;
}

void touch_set_ff_mode(force_feedback_mode_t mode)
{
    ff_mode = mode;
    LOG_INF("Force feedback mode: %d", mode);
}

force_feedback_mode_t touch_get_ff_mode(void)
{
    return ff_mode;
}

void touch_register_callback(touch_callback_t callback)
{
    touch_callback = callback;
}

bool touch_should_yield(uint16_t current_adc)
{
    /*
     * Yield to user force when:
     * - Force feedback mode allows it
     * - Current exceeds threshold for multiple samples
     * - User is touching the fader
     */
    
    if (ff_mode == FF_MODE_DISABLED) {
        return false;
    }
    
    if (ff_mode == FF_MODE_FOLLOW) {
        /* Always yield in follow mode */
        return touch_is_touched();
    }
    
    /* In HOLD or SPRING mode, yield only on force */
    return (current_high_count >= CURRENT_SAMPLES);
}

float touch_get_start_position(void)
{
    return touch_start_position;
}

void touch_set_current_threshold(uint16_t threshold)
{
    current_threshold = threshold;
}
```
